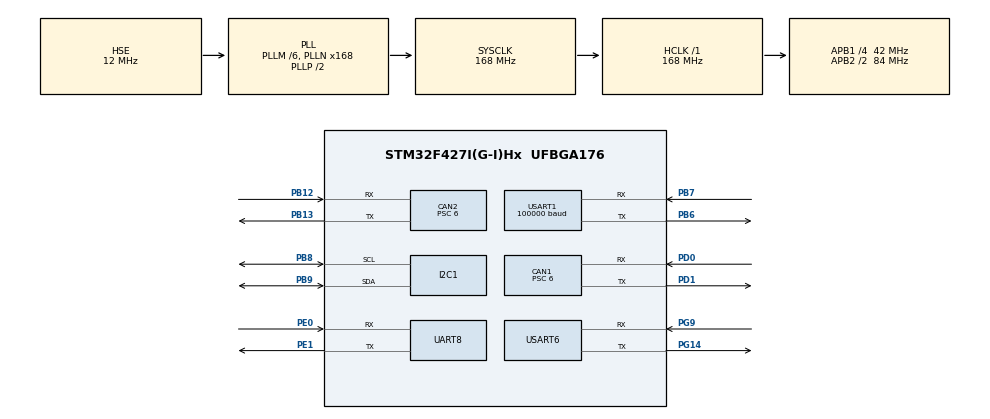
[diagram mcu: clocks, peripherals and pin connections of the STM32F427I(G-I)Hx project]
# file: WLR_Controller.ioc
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CAN1.BS1=CAN_BS1_8TQ
CAN1.BS2=CAN_BS2_5TQ
CAN1.CalculateBaudRate=500000
CAN1.CalculateTimeBit=2000
CAN1.CalculateTimeQuantum=142.85714285714286
CAN1.Prescaler=6
CAN2.BS1=CAN_BS1_8TQ
CAN2.BS2=CAN_BS2_5TQ
CAN2.CalculateBaudRate=500000
CAN2.CalculateTimeBit=2000
CAN2.CalculateTimeQuantum=142.85714285714286
CAN2.Prescaler=6
Dma.Request0=USART6_RX
Dma.Request1=USART6_TX
Dma.Request2=USART1_RX
Dma.Request3=USART1_TX
Dma.Request4=UART8_RX
Dma.Request5=UART8_TX
Dma.UART8_RX.4.Direction=DMA_PERIPH_TO_MEMORY
Dma.UART8_RX.4.FIFOMode=DMA_FIFOMODE_DISABLE
Dma.UART8_RX.4.Instance=DMA1_Stream6
Dma.UART8_RX.4.MemDataAlignment=DMA_MDATAALIGN_BYTE
Dma.UART8_RX.4.MemInc=DMA_MINC_ENABLE
Dma.UART8_RX.4.Mode=DMA_NORMAL
Dma.UART8_RX.4.PeriphDataAlignment=DMA_PDATAALIGN_BYTE
Dma.UART8_RX.4.PeriphInc=DMA_PINC_DISABLE
Dma.UART8_RX.4.Priority=DMA_PRIORITY_LOW
Dma.UART8_TX.5.Direction=DMA_MEMORY_TO_PERIPH
Dma.UART8_TX.5.FIFOMode=DMA_FIFOMODE_DISABLE
Dma.UART8_TX.5.Instance=DMA1_Stream0
Dma.UART8_TX.5.MemDataAlignment=DMA_MDATAALIGN_BYTE
Dma.UART8_TX.5.MemInc=DMA_MINC_ENABLE
Dma.UART8_TX.5.Mode=DMA_NORMAL
Dma.UART8_TX.5.PeriphDataAlignment=DMA_PDATAALIGN_BYTE
Dma.UART8_TX.5.PeriphInc=DMA_PINC_DISABLE
Dma.UART8_TX.5.Priority=DMA_PRIORITY_LOW
Dma.USART1_RX.2.Direction=DMA_PERIPH_TO_MEMORY
Dma.USART1_RX.2.FIFOMode=DMA_FIFOMODE_DISABLE
Dma.USART1_RX.2.Instance=DMA2_Stream2
Dma.USART1_RX.2.MemDataAlignment=DMA_MDATAALIGN_BYTE
Dma.USART1_RX.2.MemInc=DMA_MINC_ENABLE
Dma.USART1_RX.2.Mode=DMA_NORMAL
Dma.USART1_RX.2.PeriphDataAlignment=DMA_PDATAALIGN_BYTE
Dma.USART1_RX.2.PeriphInc=DMA_PINC_DISABLE
Dma.USART1_RX.2.Priority=DMA_PRIORITY_LOW
Dma.USART1_TX.3.Direction=DMA_MEMORY_TO_PERIPH
Dma.USART1_TX.3.FIFOMode=DMA_FIFOMODE_DISABLE
Dma.USART1_TX.3.Instance=DMA2_Stream7
Dma.USART1_TX.3.MemDataAlignment=DMA_MDATAALIGN_BYTE
Dma.USART1_TX.3.MemInc=DMA_MINC_ENABLE
Dma.USART1_TX.3.Mode=DMA_NORMAL
Dma.USART1_TX.3.PeriphDataAlignment=DMA_PDATAALIGN_BYTE
Dma.USART1_TX.3.PeriphInc=DMA_PINC_DISABLE
Dma.USART1_TX.3.Priority=DMA_PRIORITY_LOW
Dma.USART6_RX.0.Direction=DMA_PERIPH_TO_MEMORY
Dma.USART6_RX.0.FIFOMode=DMA_FIFOMODE_DISABLE
Dma.USART6_RX.0.Instance=DMA2_Stream1
Dma.USART6_RX.0.MemDataAlignment=DMA_MDATAALIGN_BYTE
Dma.USART6_RX.0.MemInc=DMA_MINC_ENABLE
Dma.USART6_RX.0.Mode=DMA_NORMAL
Dma.USART6_RX.0.PeriphDataAlignment=DMA_PDATAALIGN_BYTE
Dma.USART6_RX.0.PeriphInc=DMA_PINC_DISABLE
Dma.USART6_RX.0.Priority=DMA_PRIORITY_LOW
Dma.USART6_TX.1.Direction=DMA_MEMORY_TO_PERIPH
Dma.USART6_TX.1.FIFOMode=DMA_FIFOMODE_DISABLE
Dma.USART6_TX.1.Instance=DMA2_Stream6
Dma.USART6_TX.1.MemDataAlignment=DMA_MDATAALIGN_BYTE
Dma.USART6_TX.1.MemInc=DMA_MINC_ENABLE
Dma.USART6_TX.1.Mode=DMA_NORMAL
Dma.USART6_TX.1.PeriphDataAlignment=DMA_PDATAALIGN_BYTE
Dma.USART6_TX.1.PeriphInc=DMA_PINC_DISABLE
Dma.USART6_TX.1.Priority=DMA_PRIORITY_LOW
I2C1.I2C_Mode=I2C_Fast
Mcu.Family=STM32F4
Mcu.Name=STM32F427I(G-I)Hx
Mcu.Package=UFBGA176
NVIC.CAN1_RX0_IRQn=true\:0\:0\:false\:false\:true\:true\:true\:true
NVIC.CAN2_RX1_IRQn=true\:0\:0\:false\:false\:true\:true\:true\:true
NVIC.DMA1_Stream0_IRQn=true\:0\:0\:false\:false\:true\:false\:true\:true
NVIC.DMA1_Stream6_IRQn=true\:0\:0\:false\:false\:true\:false\:true\:true
NVIC.DMA2_Stream1_IRQn=true\:0\:0\:false\:false\:true\:false\:true\:true
NVIC.DMA2_Stream2_IRQn=true\:0\:0\:false\:false\:true\:false\:true\:true
NVIC.DMA2_Stream6_IRQn=true\:0\:0\:false\:false\:true\:false\:true\:true
NVIC.DMA2_Stream7_IRQn=true\:0\:0\:false\:false\:true\:false\:true\:true
NVIC.PriorityGroup=NVIC_PRIORITYGROUP_4
NVIC.UART8_IRQn=true\:0\:0\:false\:false\:true\:true\:true\:true
NVIC.USART1_IRQn=true\:0\:0\:false\:false\:true\:true\:true\:true
NVIC.USART6_IRQn=true\:0\:0\:false\:false\:true\:true\:true\:true
PA13.Mode=Serial_Wire
PA13.Signal=SYS_JTMS-SWDIO
PA14.Mode=Serial_Wire
PA14.Signal=SYS_JTCK-SWCLK
PB12.Mode=CAN_Activate
PB12.Signal=CAN2_RX
PB13.Mode=CAN_Activate
PB13.Signal=CAN2_TX
PB6.Mode=Asynchronous
PB6.Signal=USART1_TX
PB7.Mode=Asynchronous
PB7.Signal=USART1_RX
PB8.Mode=I2C
PB8.Signal=I2C1_SCL
PB9.Mode=I2C
PB9.Signal=I2C1_SDA
PD0.Mode=CAN_Activate
PD0.Signal=CAN1_RX
PD1.Mode=CAN_Activate
PD1.Signal=CAN1_TX
PE0.Mode=Asynchronous
PE0.Signal=UART8_RX
PE1.Mode=Asynchronous
PE1.Signal=UART8_TX
PG14.Mode=Asynchronous
PG14.Signal=USART6_TX
PG9.Mode=Asynchronous
PG9.Signal=USART6_RX
PH0/OSC_IN.Mode=HSE-External-Oscillator
PH0/OSC_IN.Signal=RCC_OSC_IN
PH1/OSC_OUT.Mode=HSE-External-Oscillator
PH1/OSC_OUT.Signal=RCC_OSC_OUT
ProjectManager.HeapSize=0x200
ProjectManager.StackSize=0x400
ProjectManager.TargetToolchain=MDK-ARM V5.32
RCC.48MHZClocksFreq_Value=84000000
RCC.AHBFreq_Value=168000000
RCC.APB1CLKDivider=RCC_HCLK_DIV4
RCC.APB1Freq_Value=42000000
RCC.APB1TimFreq_Value=84000000
RCC.APB2CLKDivider=RCC_HCLK_DIV2
RCC.APB2Freq_Value=84000000
RCC.APB2TimFreq_Value=168000000
RCC.CortexFreq_Value=168000000
RCC.HCLKFreq_Value=168000000
RCC.HSE_VALUE=12000000
RCC.HSI_VALUE=16000000
RCC.LSE_VALUE=32768
RCC.PLLM=6
RCC.PLLN=168
RCC.PLLSourceVirtual=RCC_PLLSOURCE_HSE
RCC.SYSCLKFreq_VALUE=168000000
RCC.SYSCLKSource=RCC_SYSCLKSOURCE_PLLCLK
RCC.VCOOutputFreq_Value=336000000
UART8.OverSampling=UART_OVERSAMPLING_8
UART8.VirtualMode=Asynchronous
USART1.BaudRate=100000
USART1.Parity=PARITY_EVEN
USART1.VirtualMode=VM_ASYNC
USART6.OverSampling=UART_OVERSAMPLING_8
USART6.VirtualMode=VM_ASYNC
board=custom

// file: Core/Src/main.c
/* USER CODE BEGIN Header */
/**
  ******************************************************************************
  * @file           : main.c
  * @brief          : Main program body
  ******************************************************************************
  * @attention
  *
  * Copyright (c) 2023 STMicroelectronics.
  * All rights reserved.
  *
  * This software is licensed under terms that can be found in the LICENSE file
  * in the root directory of this software component.
  * If no LICENSE file comes with this software, it is provided AS-IS.
  *
  ******************************************************************************
  */
/* USER CODE END Header */
#include "main.h"
#include "can.h"
#include "dma.h"
#include "i2c.h"
#include "usart.h"
#include "gpio.h"

/* USER CODE BEGIN Includes */
#include "motor_driver.h"
#include "remote_control.h"
#include "string.h"
#include "WLR_controller.h"
#include "bsp_delay.h"
#include "stdio.h"
#include "stdlib.h"
/* USER CODE END Includes */

void SystemClock_Config(void);

/* USER CODE BEGIN 0 */
reporter report1;
reporter report2;
reporter report3;
reporter report4;
reporter report5;
reporter report6;
reporter report10;
reporter report20;
reporter report30;
reporter report40;
reporter report50;
reporter report60;
invkin_q joint_1_q;
invkin_q joint_2_q;
invkin_q joint_q0;
kin_xy body_1_p;
kin_xy body_2_p;
kin_xy body_1_p_r;
kin_xy body_2_p_r;
char Kd_receive[3];
char *endptr;

uint8_t               RxData_1_1[8];
uint8_t               RxData_1_2[8];
uint8_t               RxData_1_3[8];
uint8_t               RxData_2_1[8];
uint8_t               RxData_2_2[8];
uint8_t               RxData_2_3[8];
const RC_ctrl_t* Rc_command;
float Icommand[3];
float Icommand_2[3];
char Kp_receive[3];
float check_en;
float IMU_check_cont;
uint8_t IMU_data[44];
uint32_t IMU[11];
typedef struct imu{
	float q[4];
	float gyro[3];
	float accel[3];
	uint32_t check;
} imu_handle;
r_p_y rpy_t;
r_p_y rpy_t0;
float* q[4];
float* gyro[3];
float* acc[3];
float yy=0.14;
float err[4];
float PI=3.1415926;
float yaw=0;
float pitch_des=0;
float ch[4];
float Kp_pitch=18; //12 20
float Kd_pitch=110; //15 120
uint8_t Kp_Kd[8];
uint8_t control_motor_flag = 0;
imu_handle imu;
float i=0;
uint8_t ifok=0;
uint8_t tail_flag = 0;
float Kp_pre;
float Kd_pre;
float tt=0;
float x_offset;
int counter=0;
float pitch_ctrl=0;
float pitch_ctrl0=0;
float yaw_ctrl=0;
float yaw_ctrl0=0;
float sum_pitch;
float sum_yaw;
int update_period=10;//25 10
float pitch_recent[10];
float yaw_recent[10];
float left_right=0;
float position_left=0;
float position_right=0;
float position_robot=0;
float position_robot_old=0;
float wheel_radius=0.187/2.0;
float P_command=0;
float Kp_position=3;
float Kd_position=9;
/* USER CODE END 0 */

int main(void)
{

  /* MCU Configuration--------------------------------------------------------*/

  /* Reset of all peripherals, Initializes the Flash interface and the Systick. */
  HAL_Init();

  /* Configure the system clock */
  SystemClock_Config();

  /* USER CODE BEGIN SysInit */
  //pid_init(motor_pid);
	//motor_pid->f_param_init(motor_pid,0,3,0.1,0.01,0.01,0.01,0,1,0,0);
	//motor_pid->f_pid_reset(motor_pid,1,0,0);
  /* USER CODE END SysInit */

  /* Initialize all configured peripherals */
  MX_GPIO_Init();
  MX_DMA_Init();
  MX_USART6_UART_Init();
  MX_CAN1_Init();
  MX_CAN2_Init();
  MX_I2C1_Init();
  MX_USART1_UART_Init();
  MX_UART8_Init();
  /* USER CODE BEGIN 2 */
	__HAL_UART_ENABLE_IT(&huart6,UART_IT_IDLE);
	HAL_UART_Receive_DMA(&huart6, IMU_data, 44);
//	__HAL_UART_ENABLE_IT(&huart8,UART_IT_IDLE);
//	HAL_UART_Receive_DMA(&huart8, Kp_Kd, 8);
	tail_flag = 1;
	delay_init();
	for (int i=0;i<4;i++){
	 q[i]=(float*)&imu.q[i];
	}
	for (int i=0;i<3;i++){
	 gyro[i]=(float*)&imu.gyro[i];
	 acc[i]=(float*)&imu.accel[i];
	}
	memset(&imu, 0, sizeof(imu));
	memset(&TxData_1, 0, sizeof(TxData_1));
	memset(&TxData_2, 0, sizeof(TxData_2));
   //Motor_SetMode(0x03);
	 //ID_Set(1);
	Encoder_Check();
	IMU_check();

	//Motor_Calibration();
	remote_control_init();

	HAL_Delay(100);
	Rc_command=get_remote_control_point();
  /* USER CODE END 2 */

  /* Infinite loop */
  /* USER CODE BEGIN WHILE */
	HAL_Delay(2000);
	Motor_SetMode(0x01,0x01,0x01);
	HAL_Delay(2000);
	Motor_SetMode_2(0x01,0x01,0x01);
	HAL_Delay(2000);
	i=i+0.1;
	report10=report1;
	report20=report2;
	report30=report3;
	report40=report4;
	report50=report5;
	report60=report6;
	x_offset=-0.009;
	body_1_p=kinematic(report1.Position, report2.Position);
	body_1_p_r.x=x_offset;
	body_1_p.y=0.05;
	//joint_1_q=invkin(0,body_1_p.y);
	body_2_p=kinematic_2(report4.Position, report5.Position);
	//body_2_p_r.x=x_offset;
	body_2_p.y=0.05;
  //joint_2_q=invkin_2(0, body_2_p.y);
	yaw=rpy_t.yaw;
	pitch_des=rpy_t.pitch;
	ch[3]=yaw;
	//HAL_UART_Transmit_DMA(&huart8,RxData_1_2,8);

	//for vofa+
	//HAL_UART_Transmit_DMA(&huart8,(uint8_t*)ch,16);

	pitch_ctrl=rpy_t.pitch;
	pitch_ctrl0=rpy_t.pitch;
	yaw_ctrl=rpy_t.yaw;
	yaw_ctrl0=rpy_t.yaw;
  while (1)
  {
		counter++;
		if (*acc[2] > 30 || *acc[2] < -30 )
		{
			Error_Handler();
		}

		//forward and backward
	 if (Rc_command->rc.ch[1]>10)
		{
			body_1_p_r.x=x_offset+(float)Rc_command->rc.ch[1]/60000;
			body_2_p_r.x=x_offset+(float)Rc_command->rc.ch[1]/60000;
		}
		else if (Rc_command->rc.ch[1]<-10)
		{
			body_1_p_r.x=x_offset+(float)Rc_command->rc.ch[1]/60000;
			body_2_p_r.x=x_offset+(float)Rc_command->rc.ch[1]/60000;
	 }

		//tilt left and right
	 	 if (Rc_command->rc.ch[2]>10)
		{
			left_right=(float)Rc_command->rc.ch[2]/20000;
		}
		else if (Rc_command->rc.ch[2]<-10)
		{
			left_right=(float)Rc_command->rc.ch[2]/20000;
	  }

		//turn left or right
		if (Rc_command->rc.ch[0]>15)
		{
			yaw=yaw-(float)Rc_command->rc.ch[0]/8000000;
		}
		else if (Rc_command->rc.ch[0]<-15)
		{
			yaw=yaw-(float)Rc_command->rc.ch[0]/8000000;
	  }

		//body up and down
		 if (Rc_command->rc.ch[3]>30)
		{
			body_1_p.y=body_1_p.y+0.0000001*Rc_command->rc.ch[3];//0.000001667
			body_2_p.y=body_2_p.y+0.0000001*Rc_command->rc.ch[2];
		}
		else if (Rc_command->rc.ch[3]<-30)
		{
			body_1_p.y=body_1_p.y+0.0000001*Rc_command->rc.ch[3];
			body_2_p.y=body_2_p.y+0.0000001*Rc_command->rc.ch[2];
	  }

		if (yaw>=3.14)
		{
		  yaw=-3.14;
		}
		else if (yaw<-3.14)
		{
			yaw=3.14;
		}

    //calculate inverkinematic for joint angel
		joint_1_q=invkin(body_1_p_r.x, body_1_p.y+left_right);
		joint_2_q=invkin_2(body_2_p_r.x,body_1_p.y-left_right);

		 if (rpy_t.yaw-yaw>1.4)
		 {
			 yaw=rpy_t.yaw+0.001;
		 }
		 else if (rpy_t.yaw-yaw<-1.4)
		 {
			 yaw=rpy_t.yaw-0.001;
		 }

     //calculate current command for all six motors
	   Icommand[0]=PID(joint_1_q.q1,report1.Position,report10.Position-report1.Position);
     Icommand[1]=PID(joint_1_q.q2,report2.Position,report20.Position-report2.Position);
		 Icommand[2]=-(Kp_pitch*(pitch_ctrl-pitch_des)-Kd_pitch*(pitch_ctrl0-pitch_ctrl)-4*(yaw_ctrl-yaw));
		 Icommand_2[0]=PID(joint_2_q.q1,report4.Position,report40.Position-report4.Position);
     Icommand_2[1]=PID(joint_2_q.q2,report5.Position,report50.Position-report5.Position);
		 Icommand_2[2]=(Kp_pitch*(pitch_ctrl-pitch_des)-Kd_pitch*(pitch_ctrl0-pitch_ctrl)+4*(yaw_ctrl-yaw));
		Motor_Drive(Icommand);
		Motor_Drive_2(Icommand_2);

	 	report10=report1;
		report20=report2;
		report30=report3;
		report40=report4;
		report50=report5;
		report60=report6;
		rpy_t0=rpy_t;
		ch[3]=yaw;

//		for (int n=0;n<(update_period-1);n++)
//	  {
//		pitch_recent[n]=pitch_recent[n+1];
//		yaw_recent[n]=yaw_recent[n+1];
//	  }
//		pitch_recent[update_period-1]=rpy_t.pitch;
//		yaw_recent[update_period-1]=rpy_t.yaw;

		if (counter>update_period)
		{
//			sum_pitch=0;
//			sum_yaw=0;
//			for (int n=0;n<update_period;n++)
//			{
//				sum_pitch=sum_pitch+pitch_recent[n];
//				sum_yaw=sum_yaw+yaw_recent[n];
//			}
//			pitch_ctrl0=pitch_ctrl;
//			pitch_ctrl=sum_pitch/(float)update_period;
//			yaw_ctrl0=yaw_ctrl;
//			yaw_ctrl=sum_yaw/(float)update_period;
			pitch_ctrl0=pitch_ctrl;
			pitch_ctrl=rpy_t.pitch;
			yaw_ctrl0=yaw_ctrl;
			yaw_ctrl=rpy_t.yaw;
			counter=0;
			position_robot_old=position_robot;

		//get robot position by wheel encoder
		if (fabs(report30.Position-report3.Position)>1.5)
		{
		position_left=0;
		}
		else
		{
			position_left=report3.Position-report30.Position;
		}

		if (fabs(report60.Position-report6.Position)>1.5)
		{
		position_right=0;
		}
		else
		{
			position_right=-(report6.Position-report60.Position);
		}

		position_robot=position_robot+wheel_radius*(position_left+position_right)/2;
		}

		delay_us(100);

		//for vofa+
		ch[0]=rpy_t.pitch;
	  ch[1]=rpy_t.roll;
	  ch[2]=rpy_t.yaw;
//	  ch[3]=yaw;
//		ch[0]=report1.Position;
//	  ch[1]=report2.Position;
//	  ch[2]=rpy_t.yaw;
//	  ch[3]=yaw;

    /* USER CODE END WHILE */

  }
}

void SystemClock_Config(void)
{
  RCC_OscInitTypeDef RCC_OscInitStruct = {0};
  RCC_ClkInitTypeDef RCC_ClkInitStruct = {0};

  /** Configure the main internal regulator output voltage
  */
  __HAL_RCC_PWR_CLK_ENABLE();
  __HAL_PWR_VOLTAGESCALING_CONFIG(PWR_REGULATOR_VOLTAGE_SCALE1);

  /** Initializes the RCC Oscillators according to the specified parameters
  * in the RCC_OscInitTypeDef structure.
  */
  RCC_OscInitStruct.OscillatorType = RCC_OSCILLATORTYPE_HSE;
  RCC_OscInitStruct.HSEState = RCC_HSE_ON;
  RCC_OscInitStruct.PLL.PLLState = RCC_PLL_ON;
  RCC_OscInitStruct.PLL.PLLSource = RCC_PLLSOURCE_HSE;
  RCC_OscInitStruct.PLL.PLLM = 6;
  RCC_OscInitStruct.PLL.PLLN = 168;
  RCC_OscInitStruct.PLL.PLLP = RCC_PLLP_DIV2;
  RCC_OscInitStruct.PLL.PLLQ = 4;
  if (HAL_RCC_OscConfig(&RCC_OscInitStruct) != HAL_OK)
  {
    Error_Handler();
  }

  /** Initializes the CPU, AHB and APB buses clocks
  */
  RCC_ClkInitStruct.ClockType = RCC_CLOCKTYPE_HCLK|RCC_CLOCKTYPE_SYSCLK
                              |RCC_CLOCKTYPE_PCLK1|RCC_CLOCKTYPE_PCLK2;
  RCC_ClkInitStruct.SYSCLKSource = RCC_SYSCLKSOURCE_PLLCLK;
  RCC_ClkInitStruct.AHBCLKDivider = RCC_SYSCLK_DIV1;
  RCC_ClkInitStruct.APB1CLKDivider = RCC_HCLK_DIV4;
  RCC_ClkInitStruct.APB2CLKDivider = RCC_HCLK_DIV2;

  if (HAL_RCC_ClockConfig(&RCC_ClkInitStruct, FLASH_LATENCY_5) != HAL_OK)
  {
    Error_Handler();
  }
}

/* USER CODE BEGIN 4 */

void uint8touint32(uint32_t* vector_32, uint8_t* vector_8, uint16_t lengthof32)
{
	for(int i = 0; i < lengthof32; i++)
	{
		vector_32[i] = (vector_8[4 * i + 3] << 24) + (vector_8[4 * i + 2] << 16) + (vector_8[4 * i + 1] << 8) + vector_8[4 * i];
	}
}

uint32_t checksum_t;
uint8_t tail[4] = {0x00,0x00,0x80,0x7f};
//for vofa+
void HAL_UART_TxCpltCallback(UART_HandleTypeDef *huart)
{
	if(huart == &huart8)
	{
		if(tail_flag)
		{
			tail_flag = 0;
			HAL_UART_Transmit_DMA(&huart8,tail,4);
		}
		else if (!tail_flag)
		{
			//HAL_UART_Transmit_DMA(&huart8,RxData_1_2,8);
			HAL_UART_Transmit_DMA(&huart8,(uint8_t*)ch,16);
			tail_flag = 1;
		}
	}
}

void HAL_UART_RxCpltCallback(UART_HandleTypeDef *huart)
{
	uint8touint32((uint32_t*)(&imu), (uint8_t*)IMU_data, 11);
  checksum_t = data_checksum((uint32_t*)(&imu),10);
	if(checksum_t == imu.check)
	{
    control_motor_flag = 1;
	}
	else{
		control_motor_flag = 0;
		//reset imu;
	}
	HAL_UART_Receive_DMA(&huart6, IMU_data, 44);
	rpy_t=q2rpy(*q[0],*q[1],*q[2],*q[3]);
	ch[0]=rpy_t.pitch;
	ch[1]=rpy_t.roll;
	ch[2]=rpy_t.yaw;

//	HAL_UART_Receive_DMA(&huart8, Kp_Kd, 8);
//	if (Kp_Kd[3]==',' && Kp_Kd[4]==' ')
//	{
//		for (int n=0;n<3;n++)
//		{
//		Kp_receive[n]=Kp_Kd[n];
//		Kd_receive[n]=Kp_Kd[n+5];
//		}
//		if (fabs(strtof(Kp_receive,&endptr))<50 && fabs(strtof(Kd_receive,&endptr))<1500)
//		{
//		Kp_pre=strtof(Kp_receive,&endptr);
//		Kd_pre=strtof(Kd_receive,&endptr);
//		}
//	}
}

void HAL_CAN_RxFifo0MsgPendingCallback(CAN_HandleTypeDef *CanHandle)
{
  /* Get RX message */
	if(hcan1.Instance==CAN1)
	{
		//RxHeader.StdId=0x203;

		HAL_CAN_GetRxMessage(CanHandle,CAN_FILTER_FIFO0,&RxHeader_1,RxData_1);
		data_process();
	}
}

void HAL_CAN_RxFifo1MsgPendingCallback(CAN_HandleTypeDef *CanHandle)
{
  /* Get RX message */
		if(hcan2.Instance==CAN2)
	{
		//RxHeader.StdId=0x203;
		HAL_CAN_GetRxMessage(CanHandle,CAN_FILTER_FIFO1,&RxHeader_2,RxData_2);
		data_process_2();
	}
}

void data_process(void)
{
	if (RxHeader_1.StdId==0x201)
	{
		memcpy(RxData_1_1,RxData_1,8);
		report1=Feedback(RxData_1_1);

	}
	else if (RxHeader_1.StdId==0x202)
	{
		memcpy(RxData_1_2,RxData_1,8);
		report2=Feedback(RxData_1_2);
	}
	else if (RxHeader_1.StdId==0x203)
	{
		memcpy(RxData_1_3,RxData_1,8);
		report3=Feedback(RxData_1_3);
	}

	ifok = ifok | (0x01 << (RxHeader_1.StdId-0x201));
}

void data_process_2(void)
{
	if (RxHeader_2.StdId==0x201)
	{
		memcpy(RxData_2_1,RxData_2,8);
		report4=Feedback(RxData_2_1);
	}
	else if (RxHeader_2.StdId==0x202)
	{
		memcpy(RxData_2_2,RxData_2,8);
		report5=Feedback(RxData_2_2);
	}
	else if (RxHeader_2.StdId==0x203)
	{
		memcpy(RxData_2_3,RxData_2,8);
		report6=Feedback(RxData_2_3);
	}

	ifok = ifok | (0x01 << ((RxHeader_2.StdId-0x201) + 3));
}

void Encoder_Check(void)
{
//	while (fabs(report1.Position)<0.01 || fabs(report2.Position)<0.01 || fabs(report3.Position)<0.01 || fabs(report4.Position)<0.01 || fabs(report5.Position)<0.01 || fabs(report6.Position)<0.01)
//	{
//		//check_en=check_en+0.00000001;
//	}
	while(ifok != 0x3f)
	{
	}
}

uint32_t data_checksum(uint32_t* data_to_check, uint32_t check_length)
{
	uint32_t t = 0;
	for(int i = 0; i < check_length; i++)
	{
		t = t ^ data_to_check[i];
	}

	return t;
}

void IMU_check(void)
{
	while (fabs(*q[1])<0.001)
	{
		IMU_check_cont=IMU_check_cont+0.0000000000001;
	}
}

/* USER CODE END 4 */

void Error_Handler(void)
{
  __disable_irq();
  while (1)
  {
  }
}
